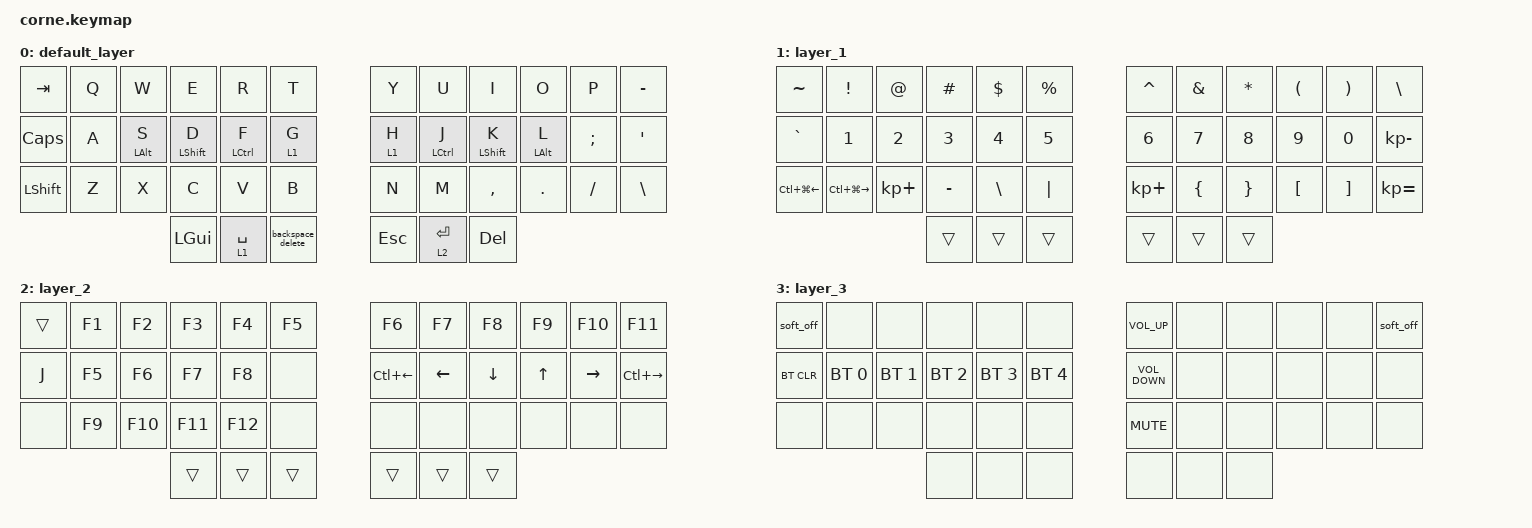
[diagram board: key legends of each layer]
/*
 * Copyright (c) 2020 The ZMK Contributors
 *
 * SPDX-License-Identifier: MIT
 */

#include <behaviors.dtsi>
#include <dt-bindings/zmk/bt.h>
#include <dt-bindings/zmk/keys.h>


/ {
    behaviors {
        backspace_delete: backspace_delete {
            compatible = "zmk,behavior-mod-morph";
            bindings = <&kp BACKSPACE>, <&kp DELETE>;

            #binding-cells = <0>;
            mods = <(MOD_LSFT)>;
        };

        // Not used but kept as example for whenever I need it
        // capslock_layer1: capslock_layer1 {
        //     compatible = "zmk,behavior-tap-dance";
        //     #binding-cells = <0>;
        //     bindings = <&mo 1>, <&kp CAPSLOCK>;
        // };

        hml: home_row_mod_left {
            compatible = "zmk,behavior-hold-tap";
            #binding-cells = <2>;
            flavor = "tap-preferred";
            require-prior-idle-ms = <100>;
            tapping-term-ms = <280>;
            quick-tap-ms = <175>;
            bindings = <&kp>, <&kp>;
            hold-trigger-key-positions = <6 7 8 9 10 11 18 19 20 21 22 23 30 31 32 33 34 35 39 40 41>; // List of keys on the right side of the keyboard
            hold-trigger-on-release;
        };
        mtl: home_row_mod_layer_left {
            compatible = "zmk,behavior-hold-tap";
            #binding-cells = <2>;
            flavor = "tap-preferred";
            require-prior-idle-ms = <100>;
            tapping-term-ms = <280>;
            quick-tap-ms = <175>;
            bindings = <&mo>, <&kp>;
            hold-trigger-key-positions = <6 7 8 9 10 11 18 19 20 21 22 23 30 31 32 33 34 35 39 40 41>; // List of keys on the right side of the keyboard
            hold-trigger-on-release;
        };
        mtr: home_row_mod_layer_right {
            compatible = "zmk,behavior-hold-tap";
            #binding-cells = <2>;
            flavor = "tap-preferred";
            require-prior-idle-ms = <100>;
            tapping-term-ms = <280>;
            quick-tap-ms = <175>;
            bindings = <&mo>, <&kp>;
            hold-trigger-key-positions = <0 1 2 3 4 5 12 13 14 15 16 17 25 26 27 28 29 36 37 38>; // List of keys on the left side of the keyboard
            hold-trigger-on-release;
        };
        hmr: home_row_mod_right {
            compatible = "zmk,behavior-hold-tap";
            #binding-cells = <2>;
            flavor = "tap-preferred";
            require-prior-idle-ms = <100>;
            tapping-term-ms = <280>;
            quick-tap-ms = <175>;
            bindings = <&kp>, <&kp>;
            hold-trigger-key-positions = <0 1 2 3 4 5 12 13 14 15 16 17 25 26 27 28 29 36 37 38>; // List of keys on the left side of the keyboard
            hold-trigger-on-release;
        };
    };

    combos {
        compatible = "zmk,combos";

        mo_layer3 {
            bindings = <&mo 3>;
            key-positions = <37 38>;
        };

        layer-3-right {
            bindings = <&mo 3>;
            key-positions = <39 40>;
        };
    };

    keymap {
        compatible = "zmk,keymap";

        default_layer {
            // -----------------------------------------------------------------------------------------
            // |  TAB |  Q  |  W  |  E  |  R  |  T  |   |  Y  |  U   |  I  |  O  |  P  | - |
            // | CAPS |  A  |  S  |  D  |  F  |  G  |   |  H  |  J   |  K  |  L  |  ;  | ' |
            // | SHFT |  Z  |  X  |  C  |  V  |  B  |   |  N  |  M   |  ,  |  .  |  /  | \ |
            //                    | GUI | SPC | BSPC|   | ESC | ENT  | DEL |

            bindings = <
&kp TAB           &kp Q  &kp W  &kp E     &kp R             &kp T          &kp Y      &kp U          &kp I       &kp O    &kp P          &kp MINUS
&kp CAPSLOCK      &kp A  &hml LALT S &hml LEFT_SHIFT D &hml LCTRL F &mtl 1 G  &mtr 1 H &hmr LCTRL J &hmr LEFT_SHIFT K &hmr LALT L &kp SEMICOLON  &kp SINGLE_QUOTE
&kp LEFT_SHIFT    &kp Z  &kp X  &kp C     &kp V             &kp B          &kp N      &kp M          &kp COMMA   &kp DOT  &kp FSLH       &kp BSLH
                                &kp LGUI  &lt 1 SPACE  &backspace_delete    &kp ESCAPE  &lt 2 ENTER  &kp DELETE
            >;
        };

        layer_1 {
            bindings = <
&kp TILDE  &kp EXCLAMATION  &kp AT_SIGN   &kp POUND     &kp DOLLAR      &kp PERCENT         &kp CARET          &kp AMPERSAND    &kp ASTERISK   &kp LEFT_PARENTHESIS  &kp RIGHT_PARENTHESIS  &kp BSLH
&kp GRAVE  &kp NUMBER_1     &kp NUMBER_2  &kp NUMBER_3  &kp NUMBER_4    &kp N5              &kp NUMBER_6       &kp N7           &kp N8         &kp N9                &kp N0                 &kp KP_MINUS
&kp LC(LG(LEFT)) &kp LC(LG(RIGHT)) &kp KP_PLUS   &kp MINUS  &kp BSLH  &kp PIPE            &kp KP_PLUS        &kp LEFT_BRACE   &kp RIGHT_BRACE &kp LEFT_BRACKET  	  &kp RIGHT_BRACKET      &kp KP_EQUAL
                                       &trans        &trans          &trans              &trans             &trans           &trans
            >;
        };

        layer_2 {
            bindings = <
&trans &kp F1  &kp F2   &kp F3   &kp F4   &kp F5    &kp F6   &kp F7    &kp F8    &kp F9  &kp F10    &kp F11
&kp J  &kp F5  &kp F6   &kp F7   &kp F8   &none     &kp LC(LEFT) &kp LEFT  &kp DOWN  &kp UP  &kp RIGHT  &kp LC(RIGHT) 
&none  &kp F9  &kp F10  &kp F11  &kp F12  &none     &none     &none    &none       &none     &none  &none
                        &trans   &trans   &trans    &trans    &trans   &trans
            >;
        };

        layer_3 {
            bindings = <
&soft_off   &none           &none         &none         &none         &none           &kp C_VOLUME_UP    &none  &none  &none  &none  &soft_off
&bt BT_CLR  &bt BT_SEL 0    &bt BT_SEL 1  &bt BT_SEL 2  &bt BT_SEL 3  &bt BT_SEL 4    &kp C_VOLUME_DOWN  &none  &none  &none  &none  &none
&none       &none           &none         &none         &none         &none           &kp K_MUTE         &none  &none  &none  &none  &none
                                          &none         &none         &none           &none              &none  &none
            >;
        };
    };
};
